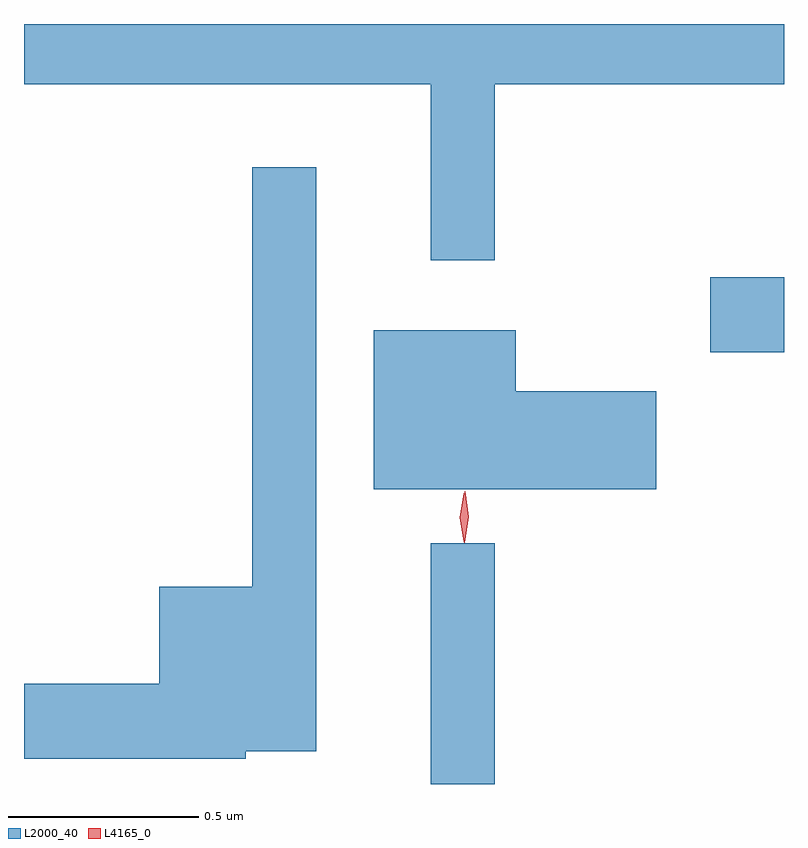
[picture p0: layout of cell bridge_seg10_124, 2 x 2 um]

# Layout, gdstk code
import gdstk
lib = gdstk.Library(unit=1e-6, precision=1e-09)
def R(c, l, rs):  # rectangles x0, y0, x1, y1
    for r in rs: c.add(gdstk.rectangle(r[:2], r[2:], *l))
def P(c, l, *ps):  # polygons
    for p in ps: c.add(gdstk.Polygon(p, *l))
L2000_40 = (2000, 40)
L4165_0 = (4165, 0)

bridge_seg10_124 = lib.new_cell('bridge_seg10_124')
R(bridge_seg10_124, L2000_40, [(1570.581,2096.535,1570.749,2097.168), (1571.316,2097.671,1571.51,2097.869)])
P(bridge_seg10_124, L2000_40, [(1570.749,2098.376),(1571.51,2098.376),(1571.51,2098.535),(1569.51,2098.535),(1569.51,2098.376),(1570.581,2098.376),(1570.581,2097.913),(1570.749,2097.913)],
  [(1570.094,2096.621),(1570.279,2096.621),(1570.279,2098.158),(1570.111,2098.158),(1570.111,2097.054),(1569.866,2097.054),(1569.866,2096.799),(1569.51,2096.799),(1569.51,2096.601),(1570.094,2096.601)],
  [(1571.174,2097.569),(1570.804,2097.569),(1570.804,2097.729),(1570.431,2097.729),(1570.431,2097.311),(1571.174,2097.311)])
P(bridge_seg10_124, L4165_0, [(1570.667,2097.173),(1570.667,2097.173),(1570.657,2097.236),(1570.667,2097.3),(1570.667,2097.3),(1570.668,2097.3),(1570.677,2097.236),(1570.668,2097.173)],
  [(1570.669,2097.17),(1570.669,2097.17),(1570.66,2097.238),(1570.67,2097.305),(1570.67,2097.306),(1570.671,2097.305),(1570.68,2097.238),(1570.67,2097.17)])

lib.write_gds('bridge_seg10_124.gds')
